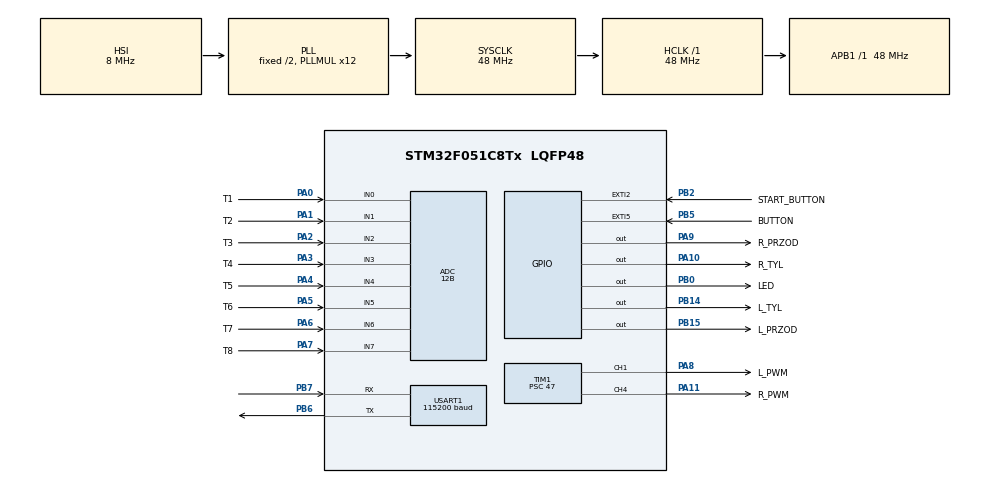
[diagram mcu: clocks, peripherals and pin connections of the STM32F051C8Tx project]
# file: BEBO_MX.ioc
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ADC.ClockPrescaler=ADC_CLOCK_ASYNC_DIV1
ADC.ContinuousConvMode=ENABLE
ADC.DMAContinuousRequests=ENABLE
ADC.DataAlign=ADC_DATAALIGN_RIGHT
ADC.DiscontinuousConvMode=DISABLE
ADC.EOCSelection=ADC_EOC_SINGLE_CONV
ADC.EnableAnalogWatchDog=false
ADC.ExternalTrigConv=ADC_SOFTWARE_START
ADC.ExternalTrigConvEdge=ADC_EXTERNALTRIGCONVEDGE_NONE
ADC.LowPowerAutoPowerOff=DISABLE
ADC.LowPowerAutoWait=DISABLE
ADC.Overrun=ADC_OVR_DATA_PRESERVED
ADC.Rank=ADC_RANK_CHANNEL_NUMBER
ADC.Resolution=ADC_RESOLUTION_12B
ADC.SamplingTime=ADC_SAMPLETIME_239CYCLES_5
ADC.ScanConvMode=ADC_SCAN_DIRECTION_FORWARD
Dma.ADC.0.Direction=DMA_PERIPH_TO_MEMORY
Dma.ADC.0.Instance=DMA1_Channel1
Dma.ADC.0.MemDataAlignment=DMA_MDATAALIGN_HALFWORD
Dma.ADC.0.MemInc=DMA_MINC_ENABLE
Dma.ADC.0.Mode=DMA_CIRCULAR
Dma.ADC.0.PeriphDataAlignment=DMA_PDATAALIGN_HALFWORD
Dma.ADC.0.PeriphInc=DMA_PINC_DISABLE
Dma.ADC.0.Priority=DMA_PRIORITY_HIGH
Dma.Request0=ADC
Mcu.Family=STM32F0
Mcu.Name=STM32F051C8Tx
Mcu.Package=LQFP48
NVIC.DMA1_Channel1_IRQn=true\:0\:0\:false\:false\:true
NVIC.EXTI2_3_IRQn=true\:0\:0\:false\:false\:true
NVIC.EXTI4_15_IRQn=true\:0\:0\:false\:false\:true
NVIC.FLASH_IRQn=true\:0\:0\:false\:false\:true
NVIC.RCC_IRQn=true\:0\:0\:false\:false\:true
NVIC.TIM6_DAC_IRQn=true\:0\:0\:false\:false\:true
NVIC.USART1_IRQn=true\:0\:0\:false\:false\:true
PA0.GPIO_Label=T1
PA0.Mode=IN0
PA0.Signal=ADC_IN0
PA1.GPIO_Label=T2
PA1.Mode=IN1
PA1.Signal=ADC_IN1
PA10.GPIO_Label=R_TYL
PA10.Signal=GPIO_Output
PA11.GPIO_Label=R_PWM
PA11.Signal=S_TIM1_CH4
PA13.Mode=Serial_Wire
PA13.Signal=SYS_SWDIO
PA14.Mode=Serial_Wire
PA14.Signal=SYS_SWCLK
PA2.GPIO_Label=T3
PA2.Mode=IN2
PA2.Signal=ADC_IN2
PA3.GPIO_Label=T4
PA3.Mode=IN3
PA3.Signal=ADC_IN3
PA4.GPIO_Label=T5
PA4.Mode=IN4
PA4.Signal=ADC_IN4
PA5.GPIO_Label=T6
PA5.Mode=IN5
PA5.Signal=ADC_IN5
PA6.GPIO_Label=T7
PA6.Mode=IN6
PA6.Signal=ADC_IN6
PA7.GPIO_Label=T8
PA7.Mode=IN7
PA7.Signal=ADC_IN7
PA8.GPIO_Label=L_PWM
PA8.Signal=S_TIM1_CH1
PA9.GPIO_Label=R_PRZOD
PA9.Signal=GPIO_Output
PB0.GPIO_Label=LED
PB0.Signal=GPIO_Output
PB14.GPIO_Label=L_TYL
PB14.Signal=GPIO_Output
PB15.GPIO_Label=L_PRZOD
PB15.Signal=GPIO_Output
PB2.GPIO_Label=START_BUTTON
PB2.Signal=GPXTI2
PB5.GPIO_Label=BUTTON
PB5.Signal=GPXTI5
PB6.Mode=Asynchronous
PB6.Signal=USART1_TX
PB7.Mode=Asynchronous
PB7.Signal=USART1_RX
ProjectManager.HeapSize=0x200
ProjectManager.StackSize=0x400
ProjectManager.TargetToolchain=SW4STM32
RCC.AHBCLKDivider=RCC_SYSCLK_DIV1
RCC.AHBFreq_Value=48000000
RCC.APB1CLKDivider=RCC_HCLK_DIV1
RCC.APB1Freq_Value=48000000
RCC.APB1TimFreq_Value=48000000
RCC.CECEnable=false
RCC.ClockTypeHCLK=RCC_CLOCKTYPE_HCLK
RCC.ClockTypePCLK1=RCC_CLOCKTYPE_PCLK1
RCC.DATA_CACHE_ENABLE=0
RCC.EnableHSE=false
RCC.EnableHSERTCDevisor=false
RCC.EnableLSE=false
RCC.EnableLSERTC=false
RCC.EnableMCOMultDivisor=false
RCC.HCLKFreq_Value=48000000
RCC.HSEState=RCC_HSE_OFF
RCC.HSE_VALUE=0.000016
RCC.HSI14State=RCC_HSI14_ON
RCC.HSI48State=RCC_HSI48_OFF
RCC.HSIState=RCC_HSI_ON
RCC.I2C1Enable=false
RCC.INSTRUCTION_CACHE_ENABLE=0
RCC.IWDGEnable=false
RCC.LSIState=RCC_LSI_OFF
RCC.MCOEnable=false
RCC.OscillatorTypeHSI=RCC_OSCILLATORTYPE_HSI
RCC.OscillatorTypeHSI14=RCC_OSCILLATORTYPE_HSI14
RCC.PLLDivider=RCC_PREDIV_DIV1
RCC.PLLMUL=RCC_PLL_MUL12
RCC.PLLSource=RCC_PLLSOURCE_HSI
RCC.PLLSourceVirtual=RCC_PLLSOURCE_HSI
RCC.PLLState=RCC_PLL_ON
RCC.RCC_MCODiv=RCC_MCODIV_1
RCC.RCC_PERIPHCLK_USART1Var=RCC_PERIPHCLK_USART1
RCC.RTCEnable=false
RCC.SYSCLKFreq_VALUE=48000000
RCC.SYSCLKSource=RCC_SYSCLKSOURCE_PLLCLK
RCC.TimSys_Div=SYSTICK_CLKSOURCE_HCLK
RCC.USART1Enable=true
RCC.USART2Enable=false
RCC.USBEnable=false
SH.S_TIM1_CH1.0=TIM1_CH1,PWM Generation1 CH1
SH.S_TIM1_CH4.0=TIM1_CH4,PWM Generation4 CH4
TIM1.Channel-PWM\ Generation1\ CH1=TIM_CHANNEL_1
TIM1.Channel-PWM\ Generation4\ CH4=TIM_CHANNEL_4
TIM1.ClearInputState=ENABLE
TIM1.OCNIdleState_1=TIM_OCNIDLESTATE_RESET
TIM1.OCNIdleState_4=TIM_OCNIDLESTATE_RESET
TIM1.OCNPolarity_1=TIM_OCNPOLARITY_HIGH
TIM1.Period=999
TIM1.Prescaler=47
TIM6.Period=9
TIM6.Prescaler=4799
TIM6.TIM_MasterSlaveMode=TIM_MASTERSLAVEMODE_DISABLE
USART1.BaudRate=115200
USART1.HwFlowCtl-Asynchronous=UART_HWCONTROL_NONE
USART1.VirtualMode-Asynchronous=VM_ASYNC
VP_TIM6_VS_ClockSourceINT.Mode=Enable_Timer
board=BEBO_MX

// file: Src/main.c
/**
  ******************************************************************************
  * File Name          : main.c
  * Description        : Main program body
  ******************************************************************************
  *
  * COPYRIGHT(c) 2017 STMicroelectronics
  *
  * Redistribution and use in source and binary forms, with or without modification,
  * are permitted provided that the following conditions are met:
  *   1. Redistributions of source code must retain the above copyright notice,
  *      this list of conditions and the following disclaimer.
  *   2. Redistributions in binary form must reproduce the above copyright notice,
  *      this list of conditions and the following disclaimer in the documentation
  *      and/or other materials provided with the distribution.
  *   3. Neither the name of STMicroelectronics nor the names of its contributors
  *      may be used to endorse or promote products derived from this software
  *      without specific prior written permission.
  *
  * THIS SOFTWARE IS PROVIDED BY THE COPYRIGHT HOLDERS AND CONTRIBUTORS "AS IS"
  * AND ANY EXPRESS OR IMPLIED WARRANTIES, INCLUDING, BUT NOT LIMITED TO, THE
  * IMPLIED WARRANTIES OF MERCHANTABILITY AND FITNESS FOR A PARTICULAR PURPOSE ARE
  * DISCLAIMED. IN NO EVENT SHALL THE COPYRIGHT HOLDER OR CONTRIBUTORS BE LIABLE
  * FOR ANY DIRECT, INDIRECT, INCIDENTAL, SPECIAL, EXEMPLARY, OR CONSEQUENTIAL
  * DAMAGES (INCLUDING, BUT NOT LIMITED TO, PROCUREMENT OF SUBSTITUTE GOODS OR
  * SERVICES; LOSS OF USE, DATA, OR PROFITS; OR BUSINESS INTERRUPTION) HOWEVER
  * CAUSED AND ON ANY THEORY OF LIABILITY, WHETHER IN CONTRACT, STRICT LIABILITY,
  * OR TORT (INCLUDING NEGLIGENCE OR OTHERWISE) ARISING IN ANY WAY OUT OF THE USE
  * OF THIS SOFTWARE, EVEN IF ADVISED OF THE POSSIBILITY OF SUCH DAMAGE.
  *
  ******************************************************************************
  */
#include "main.h"
#include "stm32f0xx_hal.h"
#include "adc.h"
#include "dma.h"
#include "tim.h"
#include "usart.h"
#include "gpio.h"

/* USER CODE BEGIN PV */
/* Private variables ---------------------------------------------------------*/
	/*
	 * 0 - robot wylaczony
	 * 1 - robot w trybie linefollowera
	 */
	uint8_t wlaczony=0; // uruchamia dzialanie robota

	/*ZMIENNE DLA TRYBU AUTOMATYCZNEGO*/
	uint16_t T[8]; 		// zczytuje wartoœc z czujnikow
	uint16_t petla=0; 	// gdy osiagnie wartosc 100 to wykonuje sie petla algorytmu
	int blad=0;			// blad regulacji PD
	int pop_blad=0;		// blad obliczony poprzednio
	int Kp=1;			// wspolczynnik proporcjonalny regulacji
	int Kd=0;			// wspolczynnik rozniczkujacy regulacji
	uint8_t przestrzelony=0;	// sprawdza czy robot przestrzelil linie po powrocie
	int regulacja=0;	// obliczona regulacja skretu robota

	/*PARAMETRY DLA REGULACJI*/
	uint8_t waga=20;	// waga z jaka wazy sie poszczegolne czujniki
	uint16_t prog=2800;	// prog od jakiej wartosci uznana jest linia za czarna
	int V_zad = 100;	// predkosc poczatkowa robota

	/*ZMIENNE DLA TRYBU RECZNEGO*/
	int LEWY=0, PRAWY=0;// wartosc wypelnienia PWM dla czujnikow

	/*KOMUNIKACJA BLUETOOTH*/
	int petla_bluetooth;
	uint8_t Received;	// odebrane dane
	uint8_t Data[100];	// ilosc danych do wyslania
	volatile uint16_t size;	// wielkosc danych do wyslania
/* USER CODE END PV */

void SystemClock_Config(void);
void Error_Handler(void);

/* USER CODE BEGIN PFP */
/* Private function prototypes -----------------------------------------------*/
/* PWM(LEWY,PRAWY) rozdzielczosc :1000 , max to 1000 min -1000 */
void PWM(int,int);
/* kalibracja ustawia na nowo wartosc progu  */
void kalibracja();
/* sumuje wartosci z bledow z czujnikow*/
int licz_blad();
/* regulator proporcjonalno ro¿niczkuj¹cy dla robota  */
int PD();
/* przecia¿enie funkcji odbioru danych przez UART */
void HAL_UART_RxCpltCallback(UART_HandleTypeDef *huart);
/*FUNKCJA WYSYLA AKTUALNE WARTOSCI
 * - wartosc progu
 * - 8 czujnikow lini KTIR
 * - wypelnieni PWM dla silnika lewego
 * - wype³nienie PWM dla silnika prawego*/
void BLUETOOTH();
/* USER CODE END PFP */

int main(void)
{

  /* MCU Configuration----------------------------------------------------------*/

  /* Reset of all peripherals, Initializes the Flash interface and the Systick. */
  HAL_Init();

  /* Configure the system clock */
  SystemClock_Config();

  /* Initialize all configured peripherals */
  MX_GPIO_Init();
  MX_DMA_Init();
  MX_TIM1_Init();
  MX_USART1_UART_Init();
  MX_ADC_Init();
  MX_TIM6_Init();

  /* USER CODE BEGIN 2 */
  HAL_ADC_Start_DMA(&hadc,T,8);
  HAL_TIM_Base_Start_IT(&htim6);
  HAL_TIM_PWM_Start(&htim1,TIM_CHANNEL_4);
  HAL_TIM_PWM_Start(&htim1,TIM_CHANNEL_1);
  HAL_UART_Receive_IT(&huart1, &Received, 1);
  /* USER CODE END 2 */

  /* Infinite loop */
  while (1)
  {

  }

}

/** System Clock Configuration
*/
void SystemClock_Config(void)
{

  RCC_OscInitTypeDef RCC_OscInitStruct;
  RCC_ClkInitTypeDef RCC_ClkInitStruct;
  RCC_PeriphCLKInitTypeDef PeriphClkInit;

    /**Initializes the CPU, AHB and APB busses clocks
    */
  RCC_OscInitStruct.OscillatorType = RCC_OSCILLATORTYPE_HSI|RCC_OSCILLATORTYPE_HSI14;
  RCC_OscInitStruct.HSIState = RCC_HSI_ON;
  RCC_OscInitStruct.HSI14State = RCC_HSI14_ON;
  RCC_OscInitStruct.HSICalibrationValue = 16;
  RCC_OscInitStruct.HSI14CalibrationValue = 16;
  RCC_OscInitStruct.PLL.PLLState = RCC_PLL_ON;
  RCC_OscInitStruct.PLL.PLLSource = RCC_PLLSOURCE_HSI;
  RCC_OscInitStruct.PLL.PLLMUL = RCC_PLL_MUL12;
  RCC_OscInitStruct.PLL.PREDIV = RCC_PREDIV_DIV1;
  if (HAL_RCC_OscConfig(&RCC_OscInitStruct) != HAL_OK)
  {
    Error_Handler();
  }

    /**Initializes the CPU, AHB and APB busses clocks
    */
  RCC_ClkInitStruct.ClockType = RCC_CLOCKTYPE_HCLK|RCC_CLOCKTYPE_SYSCLK
                              |RCC_CLOCKTYPE_PCLK1;
  RCC_ClkInitStruct.SYSCLKSource = RCC_SYSCLKSOURCE_PLLCLK;
  RCC_ClkInitStruct.AHBCLKDivider = RCC_SYSCLK_DIV1;
  RCC_ClkInitStruct.APB1CLKDivider = RCC_HCLK_DIV1;

  if (HAL_RCC_ClockConfig(&RCC_ClkInitStruct, FLASH_LATENCY_1) != HAL_OK)
  {
    Error_Handler();
  }

  PeriphClkInit.PeriphClockSelection = RCC_PERIPHCLK_USART1;
  PeriphClkInit.Usart1ClockSelection = RCC_USART1CLKSOURCE_PCLK1;
  if (HAL_RCCEx_PeriphCLKConfig(&PeriphClkInit) != HAL_OK)
  {
    Error_Handler();
  }

    /**Configure the Systick interrupt time
    */
  HAL_SYSTICK_Config(HAL_RCC_GetHCLKFreq()/1000);

    /**Configure the Systick
    */
  HAL_SYSTICK_CLKSourceConfig(SYSTICK_CLKSOURCE_HCLK);

  /* SysTick_IRQn interrupt configuration */
  HAL_NVIC_SetPriority(SysTick_IRQn, 0, 0);
}

/* USER CODE BEGIN 4 */
/*
 * FUNKCJA PRZYCISKOW
 * - START_BUTTON URUCHAMIA SILNIKI
 * przycisk znajduje siê po lewej stronie od gniazda miniUSB
 *
 * - RESET_BUTTON resetuje program
 * znajduje siê po lewej stronie od gniazda USB
 *
 * - BUTTON
 */
void HAL_GPIO_EXTI_Callback(uint16_t GPIO_Pin){
	if(GPIO_Pin == START_BUTTON_Pin){
		if(wlaczony==0){
			wlaczony=1;
			PWM(0,0);
		}else if(wlaczony!=1){
			wlaczony=0;
			PWM(0,0);
		}
	}else if(GPIO_Pin == START_BUTTON_Pin){
		kalibracja();
	}
}
/*
 * G£ÓWNE PRZERWANIE
 * wykonywane z f=1000Hz
 */
void HAL_TIM_PeriodElapsedCallback(TIM_HandleTypeDef *htim){
 if(htim->Instance == TIM6){
	 petla_bluetooth++;
	 	 if(petla_bluetooth>=100){
	 		petla_bluetooth=0;
	 		BLUETOOTH();
	 	 }
 }
 if(htim->Instance == TIM6){
	 if(wlaczony==1){
		 petla++;
		if(petla>=100){
			 petla=0;
			 blad=licz_blad();
			 regulacja=PD();
			 PWM(V_zad + regulacja, V_zad - regulacja);
		}
	}
 }
}

void PWM(int Lewy,int Prawy){
	//________LEWY SILNIK______________
	if(Lewy>0){
		HAL_GPIO_WritePin(L_TYL_GPIO_Port,L_TYL_Pin,RESET);
		HAL_GPIO_WritePin(L_PRZOD_GPIO_Port,L_PRZOD_Pin,SET);
		if(Lewy>=1000){
			TIM1->CCR1=1000;
		}else{
			TIM1->CCR1=Lewy;
		}
	}else if(Lewy<0){
		HAL_GPIO_WritePin(L_TYL_GPIO_Port,L_TYL_Pin,SET);
		HAL_GPIO_WritePin(L_PRZOD_GPIO_Port,L_PRZOD_Pin,RESET);
		if(Lewy<=-1000){
			TIM1->CCR1=1000;
		}else{
			TIM1->CCR1=Lewy*(-1); //poniewaz wypelnienie PWM nie moze byc ujemne
			}
	}else if(Lewy==0){
		HAL_GPIO_WritePin(L_TYL_GPIO_Port,L_TYL_Pin,RESET);
		HAL_GPIO_WritePin(L_PRZOD_GPIO_Port,L_PRZOD_Pin,RESET);
		TIM1->CCR1=0;
		}
	//________PRAWY SILNIK______________
	if(Prawy>0){
		HAL_GPIO_WritePin(R_TYL_GPIO_Port,R_TYL_Pin,RESET);
		HAL_GPIO_WritePin(R_PRZOD_GPIO_Port,R_PRZOD_Pin,SET);
		if(Prawy>=1000){
			TIM1->CCR4=1000;
		}else{
			TIM1->CCR4=Prawy;
		}
	}else if(Prawy<0){
		HAL_GPIO_WritePin(R_TYL_GPIO_Port,R_TYL_Pin,SET);
		HAL_GPIO_WritePin(R_PRZOD_GPIO_Port,R_PRZOD_Pin,RESET);
		if(Prawy<=-1000){
			TIM1->CCR4=1000;
		}else{
			TIM1->CCR4=Prawy*(-1);
		}
	}else if(Prawy==0){
		HAL_GPIO_WritePin(R_TYL_GPIO_Port,R_TYL_Pin,RESET);
		HAL_GPIO_WritePin(R_PRZOD_GPIO_Port,R_PRZOD_Pin,RESET);
		TIM1->CCR4=0;
	}
}
void kalibracja(){
	prog=(T[3]-((T[0]+T[1]+T[2]+T[5]+T[6]+T[7])/6))/2;
}
int licz_blad(){
	int ilosc=0;
	int waga=10;
	int err=0;
	if(T[0]>prog){
		err+=-4*waga;
		ilosc+=1;}
	if(T[1]>prog){
		err+=-3*waga;
		ilosc+=1;}
	if(T[2]>prog){
		err+=-2*waga;
		ilosc+=1;}
	if(T[3]>prog){
		err+=-0*waga; //poniewaz T[4] nie dziala tu bedzie wartosc 1
		ilosc+=0;}
	if(T[4]>prog){
		err+=1*waga;
		ilosc+=1;}
	if(T[5]>prog){
		err+=2*waga;
		ilosc+=1;}
	if(T[6]>prog){
		err+=3*waga;
		ilosc+=1;}
	if(T[7]>prog){
		err+=4*waga;
		ilosc+=1;}

	if(ilosc!=0){
		err/=ilosc;
		pop_blad=err;
	}else{
		if(err>3*waga){
			err=5*waga;
			przestrzelony=1;
		}else if(err<-3*waga){
			err=-5*waga;
			przestrzelony=2;
		}else{
			err=0;
		}
	}
	if(przestrzelony == 1 && err >= 0){
		przestrzelony = 0;
	}else if(przestrzelony == 2 && err <= 0){
		przestrzelony = 0;
	}
	return err;
}
int PD(){
	int rozniczka = blad - pop_blad;
	pop_blad = blad;
	return Kp*blad + Kd*rozniczka;
}
void HAL_UART_RxCpltCallback(UART_HandleTypeDef *huart) {
	LEWY=PRAWY=0;
	switch (atoi(&Received)) {
		case 0:
			wlaczony=0;
		 	LEWY=PRAWY=0;
	 	 	break;
	 	case 1:
	 	 	wlaczony=1;
			LEWY=PRAWY=0;
	 	 	break;
	 	case 2: //DO PRZODU
	 	 	wlaczony=0;
	 	 	PRAWY=LEWY=V_zad;
	 	 	break;
	 	case 3: //DO TYLU
	 	 	wlaczony=0;
			LEWY=PRAWY=V_zad*(-1);
	 	 	break;
	 	case 4: // W PRAWO
	 	 	wlaczony=0;
	 	 	LEWY=V_zad*1.5;
	 	 	PRAWY=V_zad;
	 	 	break;
	 	case 5: //W LEWO
	 	 	wlaczony=0;
	 	 	LEWY=V_zad;
	 	 	PRAWY=V_zad*1.5;
	 	 	break;
	 	default:
	 		wlaczony=0;
	 		LEWY=PRAWY=0;
	 	 	break;
		}
	PWM(LEWY,PRAWY);
	HAL_UART_Receive_IT(&huart1, &Received, 1); // Ponowne w³¹czenie nas³uchiwania
}
void BLUETOOTH(){
	size = sprintf(Data,"%d:%d:%d:%d:%d:%d:%d:%d:%d:%d:%d!",prog,T[0],T[1],T[2],T[3],T[4],T[5],T[6],T[7],TIM1->CCR1,TIM1->CCR4);
	HAL_UART_Transmit_IT(&huart1, Data, size);

}
/* USER CODE END 4 */

void Error_Handler(void)
{
  while(1)
  {
  }
}

/************************ (C) COPYRIGHT STMicroelectronics *****END OF FILE****/
